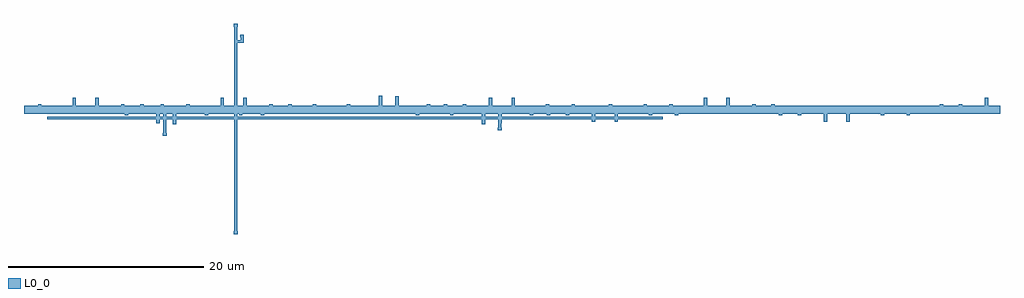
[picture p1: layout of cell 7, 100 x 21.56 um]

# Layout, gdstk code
import gdstk
lib = gdstk.Library(unit=1e-6, precision=1e-09)
def P(c, l, *ps):  # polygons
    for p in ps: c.add(gdstk.Polygon(p, *l))
L0_0 = (0, 0)

c_7 = lib.new_cell('7')
P(c_7, L0_0, [(900,941.2),(1000,941.2),(1000,940.4),(900,940.4),(900,941.2)],
  [(1000,940.4),(999.24,940.4),(999.24,941.2),(1000,941.2),(1000,940.4)],
  [(939.18,941.2),(939.18,940.4),(937.86,940.4),(937.86,941.2),(939.18,941.2)],
  [(924.28,940.4),(923.34,940.4),(923.34,941.2),(927.3,941.2),(927.3,940.4),(924.62,940.4),(924.62,940.225),(924.28,940.225),(924.28,940.4)],
  [(910.14,941.2),(910.14,940.4),(908.82,940.4),(908.82,941.2),(910.14,941.2)],
  [(958.32,941.2),(958.98,941.2),(958.98,940.4),(958.32,940.4),(958.32,941.2)],
  [(936.7,941.2),(938.05,941.2),(938.05,942.18),(938.39,942.18),(938.39,941.2),(941.28,941.2),(941.28,941.375),(941.62,941.375),(941.62,941.2),(941.82,941.2),(941.82,940.4),(928.62,940.4),(928.62,941.2),(929.59,941.2),(929.59,941.375),(929.93,941.375),(929.93,941.2),(933.09,941.2),(933.09,941.375),(933.43,941.375),(933.43,941.2),(936.36,941.2),(936.36,942.27),(936.7,942.27),(936.7,941.2)],
  [(996.6,941.2),(996.6,940.4),(991.32,940.4),(991.32,941.2),(996.6,941.2)],
  [(972.84,941.2),(972.84,940.4),(967.56,940.4),(967.56,941.2),(972.84,941.2)],
  [(950.29,941.2),(953.47,941.2),(953.47,941.375),(953.81,941.375),(953.81,941.2),(956.11,941.2),(956.11,941.375),(956.45,941.375),(956.45,941.2),(957,941.2),(957,940.4),(941.82,940.4),(941.82,941.2),(943.015,941.2),(943.015,941.375),(943.355,941.375),(943.355,941.2),(944.97,941.2),(944.97,941.375),(945.31,941.375),(945.31,941.2),(947.625,941.2),(947.625,942.035),(947.965,942.035),(947.965,941.2),(949.95,941.2),(949.95,942.04),(950.29,942.04),(950.29,941.2)],
  [(906.18,941.2),(906.18,940.4),(900.9,940.4),(900.9,941.2),(906.18,941.2)],
  [(969.99,942.04),(969.99,941.2),(971.975,941.2),(971.975,942.035),(972.315,942.035),(972.315,941.2),(974.63,941.2),(974.63,941.375),(974.97,941.375),(974.97,941.2),(976.585,941.2),(976.585,941.375),(976.925,941.375),(976.925,941.2),(978.12,941.2),(978.12,940.4),(962.94,940.4),(962.94,941.2),(963.49,941.2),(963.49,941.375),(963.83,941.375),(963.83,941.2),(966.13,941.2),(966.13,941.375),(966.47,941.375),(966.47,941.2),(969.65,941.2),(969.65,942.04),(969.99,942.04)],
  [(900,941.2),(901.45,941.2),(901.45,941.375),(901.79,941.375),(901.79,941.2),(904.97,941.2),(904.97,942.04),(905.31,942.04),(905.31,941.2),(907.295,941.2),(907.295,942.035),(907.635,942.035),(907.635,941.2),(909.95,941.2),(909.95,941.375),(910.29,941.375),(910.29,941.2),(911.905,941.2),(911.905,941.375),(912.245,941.375),(912.245,941.2),(913.44,941.2),(913.44,940.4),(900,940.4),(900,941.2)],
  [(991.32,941.2),(992.64,941.2),(992.64,940.4),(991.32,940.4),(991.32,941.2)],
  [(957,941.2),(958.32,941.2),(958.32,940.4),(957,940.4),(957,941.2)],
  [(960.26,941.375),(960.26,941.2),(962.94,941.2),(962.94,940.4),(958.98,940.4),(958.98,941.2),(959.92,941.2),(959.92,941.375),(960.26,941.375)],
  [(984.27,939.56),(984.27,940.4),(982.285,940.4),(982.285,939.565),(981.945,939.565),(981.945,940.4),(979.63,940.4),(979.63,940.225),(979.29,940.225),(979.29,940.4),(977.675,940.4),(977.675,940.225),(977.335,940.225),(977.335,940.4),(976.14,940.4),(976.14,941.2),(991.32,941.2),(991.32,940.4),(990.77,940.4),(990.77,940.225),(990.43,940.225),(990.43,940.4),(988.13,940.4),(988.13,940.225),(987.79,940.225),(987.79,940.4),(984.61,940.4),(984.61,939.56),(984.27,939.56)],
  [(920.49,942.04),(920.49,941.2),(922.475,941.2),(922.475,942.035),(922.815,942.035),(922.815,941.2),(925.13,941.2),(925.13,941.375),(925.47,941.375),(925.47,941.2),(927.085,941.2),(927.085,941.375),(927.425,941.375),(927.425,941.2),(928.62,941.2),(928.62,940.4),(913.44,940.4),(913.44,941.2),(913.99,941.2),(913.99,941.375),(914.33,941.375),(914.33,941.2),(916.63,941.2),(916.63,941.375),(916.97,941.375),(916.97,941.2),(920.15,941.2),(920.15,942.04),(920.49,942.04)],
  [(937.86,941.2),(937.86,940.4),(927.3,940.4),(927.3,941.2),(937.86,941.2)],
  [(999.24,941.2),(999.24,940.4),(996.6,940.4),(996.6,941.2),(999.24,941.2)],
  [(975.48,941.2),(975.48,940.4),(972.84,940.4),(972.84,941.2),(975.48,941.2)],
  [(900,941.2),(900.9,941.2),(900.9,940.4),(900,940.4),(900,941.2)],
  [(908.82,941.2),(908.82,940.4),(906.18,940.4),(906.18,941.2),(908.82,941.2)],
  [(978.12,941.2),(988.68,941.2),(988.68,940.4),(978.12,940.4),(978.12,941.2)],
  [(946.92,939.33),(946.92,940.4),(943.99,940.4),(943.99,940.225),(943.65,940.225),(943.65,940.4),(940.49,940.4),(940.49,940.225),(940.15,940.225),(940.15,940.4),(939.18,940.4),(939.18,941.2),(952.38,941.2),(952.38,940.4),(952.18,940.4),(952.18,940.225),(951.84,940.225),(951.84,940.4),(948.95,940.4),(948.95,939.42),(948.61,939.42),(948.61,940.4),(947.26,940.4),(947.26,939.33),(946.92,939.33)],
  [(988.68,941.2),(991.32,941.2),(991.32,940.4),(988.68,940.4),(988.68,941.2)],
  [(1000,940.4),(992.64,940.4),(992.64,941.2),(993.835,941.2),(993.835,941.375),(994.175,941.375),(994.175,941.2),(995.79,941.2),(995.79,941.375),(996.13,941.375),(996.13,941.2),(998.445,941.2),(998.445,942.035),(998.785,942.035),(998.785,941.2),(1000,941.2),(1000,940.4)],
  [(915.26,940.4),(913.91,940.4),(913.91,939.42),(913.57,939.42),(913.57,940.4),(910.68,940.4),(910.68,940.225),(910.34,940.225),(910.34,940.4),(910.14,940.4),(910.14,941.2),(923.34,941.2),(923.34,940.4),(922.37,940.4),(922.37,940.225),(922.03,940.225),(922.03,940.4),(918.87,940.4),(918.87,940.225),(918.53,940.225),(918.53,940.4),(915.6,940.4),(915.6,939.33),(915.26,939.33),(915.26,940.4)],
  [(976.14,941.2),(976.14,940.4),(975.48,940.4),(975.48,941.2),(976.14,941.2)],
  [(960.51,939.56),(960.51,940.4),(958.525,940.4),(958.525,939.565),(958.185,939.565),(958.185,940.4),(955.87,940.4),(955.87,940.225),(955.53,940.225),(955.53,940.4),(953.915,940.4),(953.915,940.225),(953.575,940.225),(953.575,940.4),(952.38,940.4),(952.38,941.2),(967.56,941.2),(967.56,940.4),(967.01,940.4),(967.01,940.225),(966.67,940.225),(966.67,940.4),(964.37,940.4),(964.37,940.225),(964.03,940.225),(964.03,940.4),(960.85,940.4),(960.85,939.56),(960.51,939.56)],
  [(936.7,941.2),(938.05,941.2),(938.05,942.18),(938.39,942.18),(938.39,941.2),(941.28,941.2),(941.28,941.375),(941.62,941.375),(941.62,941.2),(941.82,941.2),(941.82,940.4),(928.62,940.4),(928.62,941.2),(929.59,941.2),(929.59,941.375),(929.93,941.375),(929.93,941.2),(933.09,941.2),(933.09,941.375),(933.43,941.375),(933.43,941.2),(936.36,941.2),(936.36,942.27),(936.7,942.27),(936.7,941.2)],
  [(946.92,939.33),(946.92,940.4),(943.99,940.4),(943.99,940.225),(943.65,940.225),(943.65,940.4),(940.49,940.4),(940.49,940.225),(940.15,940.225),(940.15,940.4),(939.18,940.4),(939.18,941.2),(952.38,941.2),(952.38,940.4),(952.18,940.4),(952.18,940.225),(951.84,940.225),(951.84,940.4),(948.95,940.4),(948.95,939.42),(948.61,939.42),(948.61,940.4),(947.26,940.4),(947.26,939.33),(946.92,939.33)],
  [(915.26,940.4),(913.91,940.4),(913.91,939.42),(913.57,939.42),(913.57,940.4),(910.68,940.4),(910.68,940.225),(910.34,940.225),(910.34,940.4),(910.14,940.4),(910.14,941.2),(923.34,941.2),(923.34,940.4),(922.37,940.4),(922.37,940.225),(922.03,940.225),(922.03,940.4),(918.87,940.4),(918.87,940.225),(918.53,940.225),(918.53,940.4),(915.6,940.4),(915.6,939.33),(915.26,939.33),(915.26,940.4)],
  [(950.29,941.2),(953.47,941.2),(953.47,941.375),(953.81,941.375),(953.81,941.2),(956.11,941.2),(956.11,941.375),(956.45,941.375),(956.45,941.2),(957,941.2),(957,940.4),(941.82,940.4),(941.82,941.2),(943.015,941.2),(943.015,941.375),(943.355,941.375),(943.355,941.2),(944.97,941.2),(944.97,941.375),(945.31,941.375),(945.31,941.2),(947.625,941.2),(947.625,942.035),(947.965,942.035),(947.965,941.2),(949.95,941.2),(949.95,942.04),(950.29,942.04),(950.29,941.2)],
  [(906.18,941.2),(906.18,940.4),(900.9,940.4),(900.9,941.2),(906.18,941.2)],
  [(920.49,942.04),(920.49,941.2),(922.475,941.2),(922.475,942.035),(922.815,942.035),(922.815,941.2),(925.13,941.2),(925.13,941.375),(925.47,941.375),(925.47,941.2),(927.085,941.2),(927.085,941.375),(927.425,941.375),(927.425,941.2),(928.62,941.2),(928.62,940.4),(913.44,940.4),(913.44,941.2),(913.99,941.2),(913.99,941.375),(914.33,941.375),(914.33,941.2),(916.63,941.2),(916.63,941.375),(916.97,941.375),(916.97,941.2),(920.15,941.2),(920.15,942.04),(920.49,942.04)],
  [(900,941.2),(901.45,941.2),(901.45,941.375),(901.79,941.375),(901.79,941.2),(904.97,941.2),(904.97,942.04),(905.31,942.04),(905.31,941.2),(907.295,941.2),(907.295,942.035),(907.635,942.035),(907.635,941.2),(909.95,941.2),(909.95,941.375),(910.29,941.375),(910.29,941.2),(911.905,941.2),(911.905,941.375),(912.245,941.375),(912.245,941.2),(913.44,941.2),(913.44,940.4),(900,940.4),(900,941.2)],
  [(937.86,941.2),(937.86,940.4),(927.3,940.4),(927.3,941.2),(937.86,941.2)],
  [(900,941.2),(900.9,941.2),(900.9,940.4),(900,940.4),(900,941.2)],
  [(939.18,941.2),(939.18,940.4),(937.86,940.4),(937.86,941.2),(939.18,941.2)],
  [(908.82,941.2),(908.82,940.4),(906.18,940.4),(906.18,941.2),(908.82,941.2)],
  [(924.28,940.4),(923.34,940.4),(923.34,941.2),(927.3,941.2),(927.3,940.4),(924.62,940.4),(924.62,940.225),(924.28,940.225),(924.28,940.4)],
  [(910.14,941.2),(910.14,940.4),(908.82,940.4),(908.82,941.2),(910.14,941.2)],
  [(957,941.2),(958.32,941.2),(958.32,940.4),(957,940.4),(957,941.2)],
  [(936.7,941.2),(938.05,941.2),(938.05,942.18),(938.39,942.18),(938.39,941.2),(941.28,941.2),(941.28,941.375),(941.62,941.375),(941.62,941.2),(941.82,941.2),(941.82,940.4),(928.62,940.4),(928.62,941.2),(929.59,941.2),(929.59,941.375),(929.93,941.375),(929.93,941.2),(933.09,941.2),(933.09,941.375),(933.43,941.375),(933.43,941.2),(936.36,941.2),(936.36,942.27),(936.7,942.27),(936.7,941.2)],
  [(946.92,939.33),(946.92,940.4),(943.99,940.4),(943.99,940.225),(943.65,940.225),(943.65,940.4),(940.49,940.4),(940.49,940.225),(940.15,940.225),(940.15,940.4),(939.18,940.4),(939.18,941.2),(952.38,941.2),(952.38,940.4),(952.18,940.4),(952.18,940.225),(951.84,940.225),(951.84,940.4),(948.95,940.4),(948.95,939.42),(948.61,939.42),(948.61,940.4),(947.26,940.4),(947.26,939.33),(946.92,939.33)],
  [(960.26,941.375),(960.26,941.2),(962.94,941.2),(962.94,940.4),(958.98,940.4),(958.98,941.2),(959.92,941.2),(959.92,941.375),(960.26,941.375)],
  [(950.29,941.2),(953.47,941.2),(953.47,941.375),(953.81,941.375),(953.81,941.2),(956.11,941.2),(956.11,941.375),(956.45,941.375),(956.45,941.2),(957,941.2),(957,940.4),(941.82,940.4),(941.82,941.2),(943.015,941.2),(943.015,941.375),(943.355,941.375),(943.355,941.2),(944.97,941.2),(944.97,941.375),(945.31,941.375),(945.31,941.2),(947.625,941.2),(947.625,942.035),(947.965,942.035),(947.965,941.2),(949.95,941.2),(949.95,942.04),(950.29,942.04),(950.29,941.2)],
  [(972.84,941.2),(972.84,940.4),(967.56,940.4),(967.56,941.2),(972.84,941.2)],
  [(976.14,941.2),(976.14,940.4),(975.48,940.4),(975.48,941.2),(976.14,941.2)],
  [(984.27,939.56),(984.27,940.4),(982.285,940.4),(982.285,939.565),(981.945,939.565),(981.945,940.4),(979.63,940.4),(979.63,940.225),(979.29,940.225),(979.29,940.4),(977.675,940.4),(977.675,940.225),(977.335,940.225),(977.335,940.4),(976.14,940.4),(976.14,941.2),(991.32,941.2),(991.32,940.4),(990.77,940.4),(990.77,940.225),(990.43,940.225),(990.43,940.4),(988.13,940.4),(988.13,940.225),(987.79,940.225),(987.79,940.4),(984.61,940.4),(984.61,939.56),(984.27,939.56)],
  [(969.99,942.04),(969.99,941.2),(971.975,941.2),(971.975,942.035),(972.315,942.035),(972.315,941.2),(974.63,941.2),(974.63,941.375),(974.97,941.375),(974.97,941.2),(976.585,941.2),(976.585,941.375),(976.925,941.375),(976.925,941.2),(978.12,941.2),(978.12,940.4),(962.94,940.4),(962.94,941.2),(963.49,941.2),(963.49,941.375),(963.83,941.375),(963.83,941.2),(966.13,941.2),(966.13,941.375),(966.47,941.375),(966.47,941.2),(969.65,941.2),(969.65,942.04),(969.99,942.04)],
  [(996.6,941.2),(996.6,940.4),(991.32,940.4),(991.32,941.2),(996.6,941.2)],
  [(988.68,941.2),(991.32,941.2),(991.32,940.4),(988.68,940.4),(988.68,941.2)],
  [(975.48,941.2),(975.48,940.4),(972.84,940.4),(972.84,941.2),(975.48,941.2)],
  [(991.32,941.2),(992.64,941.2),(992.64,940.4),(991.32,940.4),(991.32,941.2)],
  [(958.32,941.2),(958.98,941.2),(958.98,940.4),(958.32,940.4),(958.32,941.2)],
  [(960.51,939.56),(960.51,940.4),(958.525,940.4),(958.525,939.565),(958.185,939.565),(958.185,940.4),(955.87,940.4),(955.87,940.225),(955.53,940.225),(955.53,940.4),(953.915,940.4),(953.915,940.225),(953.575,940.225),(953.575,940.4),(952.38,940.4),(952.38,941.2),(967.56,941.2),(967.56,940.4),(967.01,940.4),(967.01,940.225),(966.67,940.225),(966.67,940.4),(964.37,940.4),(964.37,940.225),(964.03,940.225),(964.03,940.4),(960.85,940.4),(960.85,939.56),(960.51,939.56)],
  [(978.12,941.2),(988.68,941.2),(988.68,940.4),(978.12,940.4),(978.12,941.2)],
  [(936.7,941.2),(938.05,941.2),(938.05,942.18),(938.39,942.18),(938.39,941.2),(941.28,941.2),(941.28,941.375),(941.62,941.375),(941.62,941.2),(941.82,941.2),(941.82,940.4),(928.62,940.4),(928.62,941.2),(929.59,941.2),(929.59,941.375),(929.93,941.375),(929.93,941.2),(933.09,941.2),(933.09,941.375),(933.43,941.375),(933.43,941.2),(936.36,941.2),(936.36,942.27),(936.7,942.27),(936.7,941.2)],
  [(946.92,939.33),(946.92,940.4),(943.99,940.4),(943.99,940.225),(943.65,940.225),(943.65,940.4),(940.49,940.4),(940.49,940.225),(940.15,940.225),(940.15,940.4),(939.18,940.4),(939.18,941.2),(952.38,941.2),(952.38,940.4),(952.18,940.4),(952.18,940.225),(951.84,940.225),(951.84,940.4),(948.95,940.4),(948.95,939.42),(948.61,939.42),(948.61,940.4),(947.26,940.4),(947.26,939.33),(946.92,939.33)],
  [(915.26,940.4),(913.91,940.4),(913.91,939.42),(913.57,939.42),(913.57,940.4),(910.68,940.4),(910.68,940.225),(910.34,940.225),(910.34,940.4),(910.14,940.4),(910.14,941.2),(923.34,941.2),(923.34,940.4),(922.37,940.4),(922.37,940.225),(922.03,940.225),(922.03,940.4),(918.87,940.4),(918.87,940.225),(918.53,940.225),(918.53,940.4),(915.6,940.4),(915.6,939.33),(915.26,939.33),(915.26,940.4)],
  [(950.29,941.2),(953.47,941.2),(953.47,941.375),(953.81,941.375),(953.81,941.2),(956.11,941.2),(956.11,941.375),(956.45,941.375),(956.45,941.2),(957,941.2),(957,940.4),(941.82,940.4),(941.82,941.2),(943.015,941.2),(943.015,941.375),(943.355,941.375),(943.355,941.2),(944.97,941.2),(944.97,941.375),(945.31,941.375),(945.31,941.2),(947.625,941.2),(947.625,942.035),(947.965,942.035),(947.965,941.2),(949.95,941.2),(949.95,942.04),(950.29,942.04),(950.29,941.2)],
  [(958.32,941.2),(958.98,941.2),(958.98,940.4),(958.32,940.4),(958.32,941.2)],
  [(972.84,941.2),(972.84,940.4),(967.56,940.4),(967.56,941.2),(972.84,941.2)],
  [(969.99,942.04),(969.99,941.2),(971.975,941.2),(971.975,942.035),(972.315,942.035),(972.315,941.2),(974.63,941.2),(974.63,941.375),(974.97,941.375),(974.97,941.2),(976.585,941.2),(976.585,941.375),(976.925,941.375),(976.925,941.2),(978.12,941.2),(978.12,940.4),(962.94,940.4),(962.94,941.2),(963.49,941.2),(963.49,941.375),(963.83,941.375),(963.83,941.2),(966.13,941.2),(966.13,941.375),(966.47,941.375),(966.47,941.2),(969.65,941.2),(969.65,942.04),(969.99,942.04)],
  [(920.49,942.04),(920.49,941.2),(922.475,941.2),(922.475,942.035),(922.815,942.035),(922.815,941.2),(925.13,941.2),(925.13,941.375),(925.47,941.375),(925.47,941.2),(927.085,941.2),(927.085,941.375),(927.425,941.375),(927.425,941.2),(928.62,941.2),(928.62,940.4),(913.44,940.4),(913.44,941.2),(913.99,941.2),(913.99,941.375),(914.33,941.375),(914.33,941.2),(916.63,941.2),(916.63,941.375),(916.97,941.375),(916.97,941.2),(920.15,941.2),(920.15,942.04),(920.49,942.04)],
  [(900,941.2),(901.45,941.2),(901.45,941.375),(901.79,941.375),(901.79,941.2),(904.97,941.2),(904.97,942.04),(905.31,942.04),(905.31,941.2),(907.295,941.2),(907.295,942.035),(907.635,942.035),(907.635,941.2),(909.95,941.2),(909.95,941.375),(910.29,941.375),(910.29,941.2),(911.905,941.2),(911.905,941.375),(912.245,941.375),(912.245,941.2),(913.44,941.2),(913.44,940.4),(900,940.4),(900,941.2)],
  [(937.86,941.2),(937.86,940.4),(927.3,940.4),(927.3,941.2),(937.86,941.2)],
  [(939.18,941.2),(939.18,940.4),(937.86,940.4),(937.86,941.2),(939.18,941.2)],
  [(910.14,941.2),(910.14,940.4),(908.82,940.4),(908.82,941.2),(910.14,941.2)],
  [(957,941.2),(958.32,941.2),(958.32,940.4),(957,940.4),(957,941.2)],
  [(960.51,939.56),(960.51,940.4),(958.525,940.4),(958.525,939.565),(958.185,939.565),(958.185,940.4),(955.87,940.4),(955.87,940.225),(955.53,940.225),(955.53,940.4),(953.915,940.4),(953.915,940.225),(953.575,940.225),(953.575,940.4),(952.38,940.4),(952.38,941.2),(967.56,941.2),(967.56,940.4),(967.01,940.4),(967.01,940.225),(966.67,940.225),(966.67,940.4),(964.37,940.4),(964.37,940.225),(964.03,940.225),(964.03,940.4),(960.85,940.4),(960.85,939.56),(960.51,939.56)],
  [(957,941.2),(958.32,941.2),(958.32,940.4),(957,940.4),(957,941.2)],
  [(946.92,939.33),(946.92,940.4),(943.99,940.4),(943.99,940.225),(943.65,940.225),(943.65,940.4),(940.49,940.4),(940.49,940.225),(940.15,940.225),(940.15,940.4),(939.18,940.4),(939.18,941.2),(952.38,941.2),(952.38,940.4),(952.18,940.4),(952.18,940.225),(951.84,940.225),(951.84,940.4),(948.95,940.4),(948.95,939.42),(948.61,939.42),(948.61,940.4),(947.26,940.4),(947.26,939.33),(946.92,939.33)],
  [(950.29,941.2),(953.47,941.2),(953.47,941.375),(953.81,941.375),(953.81,941.2),(956.11,941.2),(956.11,941.375),(956.45,941.375),(956.45,941.2),(957,941.2),(957,940.4),(941.82,940.4),(941.82,941.2),(943.015,941.2),(943.015,941.375),(943.355,941.375),(943.355,941.2),(944.97,941.2),(944.97,941.375),(945.31,941.375),(945.31,941.2),(947.625,941.2),(947.625,942.035),(947.965,942.035),(947.965,941.2),(949.95,941.2),(949.95,942.04),(950.29,942.04),(950.29,941.2)],
  [(972.84,941.2),(972.84,940.4),(967.56,940.4),(967.56,941.2),(972.84,941.2)],
  [(969.99,942.04),(969.99,941.2),(971.975,941.2),(971.975,942.035),(972.315,942.035),(972.315,941.2),(974.63,941.2),(974.63,941.375),(974.97,941.375),(974.97,941.2),(976.585,941.2),(976.585,941.375),(976.925,941.375),(976.925,941.2),(978.12,941.2),(978.12,940.4),(962.94,940.4),(962.94,941.2),(963.49,941.2),(963.49,941.375),(963.83,941.375),(963.83,941.2),(966.13,941.2),(966.13,941.375),(966.47,941.375),(966.47,941.2),(969.65,941.2),(969.65,942.04),(969.99,942.04)],
  [(920.49,942.04),(920.49,941.2),(922.475,941.2),(922.475,942.035),(922.815,942.035),(922.815,941.2),(925.13,941.2),(925.13,941.375),(925.47,941.375),(925.47,941.2),(927.085,941.2),(927.085,941.375),(927.425,941.375),(927.425,941.2),(928.62,941.2),(928.62,940.4),(913.44,940.4),(913.44,941.2),(913.99,941.2),(913.99,941.375),(914.33,941.375),(914.33,941.2),(916.63,941.2),(916.63,941.375),(916.97,941.375),(916.97,941.2),(920.15,941.2),(920.15,942.04),(920.49,942.04)],
  [(939.18,941.2),(939.18,940.4),(937.86,940.4),(937.86,941.2),(939.18,941.2)],
  [(958.32,941.2),(958.98,941.2),(958.98,940.4),(958.32,940.4),(958.32,941.2)],
  [(960.51,939.56),(960.51,940.4),(958.525,940.4),(958.525,939.565),(958.185,939.565),(958.185,940.4),(955.87,940.4),(955.87,940.225),(955.53,940.225),(955.53,940.4),(953.915,940.4),(953.915,940.225),(953.575,940.225),(953.575,940.4),(952.38,940.4),(952.38,941.2),(967.56,941.2),(967.56,940.4),(967.01,940.4),(967.01,940.225),(966.67,940.225),(966.67,940.4),(964.37,940.4),(964.37,940.225),(964.03,940.225),(964.03,940.4),(960.85,940.4),(960.85,939.56),(960.51,939.56)],
  [(906.18,941.2),(906.18,940.4),(900.9,940.4),(900.9,941.2),(906.18,941.2)],
  [(920.49,942.04),(920.49,941.2),(922.475,941.2),(922.475,942.035),(922.815,942.035),(922.815,941.2),(925.13,941.2),(925.13,941.375),(925.47,941.375),(925.47,941.2),(927.085,941.2),(927.085,941.375),(927.425,941.375),(927.425,941.2),(928.62,941.2),(928.62,940.4),(913.44,940.4),(913.44,941.2),(913.99,941.2),(913.99,941.375),(914.33,941.375),(914.33,941.2),(916.63,941.2),(916.63,941.375),(916.97,941.375),(916.97,941.2),(920.15,941.2),(920.15,942.04),(920.49,942.04)],
  [(900,941.2),(901.45,941.2),(901.45,941.375),(901.79,941.375),(901.79,941.2),(904.97,941.2),(904.97,942.04),(905.31,942.04),(905.31,941.2),(907.295,941.2),(907.295,942.035),(907.635,942.035),(907.635,941.2),(909.95,941.2),(909.95,941.375),(910.29,941.375),(910.29,941.2),(911.905,941.2),(911.905,941.375),(912.245,941.375),(912.245,941.2),(913.44,941.2),(913.44,940.4),(900,940.4),(900,941.2)],
  [(900,941.2),(900.9,941.2),(900.9,940.4),(900,940.4),(900,941.2)],
  [(939.18,941.2),(939.18,940.4),(937.86,940.4),(937.86,941.2),(939.18,941.2)],
  [(908.82,941.2),(908.82,940.4),(906.18,940.4),(906.18,941.2),(908.82,941.2)],
  [(915.26,940.4),(913.91,940.4),(913.91,939.42),(913.57,939.42),(913.57,940.4),(910.68,940.4),(910.68,940.225),(910.34,940.225),(910.34,940.4),(910.14,940.4),(910.14,941.2),(923.34,941.2),(923.34,940.4),(922.37,940.4),(922.37,940.225),(922.03,940.225),(922.03,940.4),(918.87,940.4),(918.87,940.225),(918.53,940.225),(918.53,940.4),(915.6,940.4),(915.6,939.33),(915.26,939.33),(915.26,940.4)],
  [(910.14,941.2),(910.14,940.4),(908.82,940.4),(908.82,941.2),(910.14,941.2)],
  [(937.86,941.2),(937.86,940.4),(927.3,940.4),(927.3,941.2),(937.86,941.2)],
  [(920.49,942.04),(920.49,941.2),(922.475,941.2),(922.475,942.035),(922.815,942.035),(922.815,941.2),(925.13,941.2),(925.13,941.375),(925.47,941.375),(925.47,941.2),(927.085,941.2),(927.085,941.375),(927.425,941.375),(927.425,941.2),(928.62,941.2),(928.62,940.4),(913.44,940.4),(913.44,941.2),(913.99,941.2),(913.99,941.375),(914.33,941.375),(914.33,941.2),(916.63,941.2),(916.63,941.375),(916.97,941.375),(916.97,941.2),(920.15,941.2),(920.15,942.04),(920.49,942.04)],
  [(948.61,938.7),(948.61,940.1),(948.89,940.1),(948.89,938.7),(948.61,938.7)],
  [(948.56,938.98),(948.94,938.98),(948.94,938.7),(948.56,938.7),(948.56,938.98)],
  [(948.56,940.1),(948.94,940.1),(948.94,939.82),(948.56,939.82),(948.56,940.1)],
  [(914.24,941.22),(914.62,941.22),(914.62,940.94),(914.24,940.94),(914.24,941.22)],
  [(914.24,938.42),(914.62,938.42),(914.62,938.14),(914.24,938.14),(914.24,938.42)],
  [(914.29,938.14),(914.29,941.22),(914.57,941.22),(914.57,938.14),(914.29,938.14)],
  [(922.21,947.66),(922.21,948.5),(922.49,948.5),(922.49,947.66),(922.21,947.66)],
  [(921.55,947.94),(922.49,947.94),(922.49,947.66),(921.55,947.66),(921.55,947.94)],
  [(921.55,928.06),(921.55,947.94),(921.83,947.94),(921.83,928.06),(921.55,928.06)],
  [(922.16,948.5),(922.54,948.5),(922.54,948.22),(922.16,948.22),(922.16,948.5)],
  [(921.5,928.34),(921.88,928.34),(921.88,928.06),(921.5,928.06),(921.5,928.34)],
  [(921.55,947.94),(922.49,947.94),(922.49,947.66),(921.55,947.66),(921.55,947.94)],
  [(921.55,928.06),(921.55,947.94),(921.83,947.94),(921.83,928.06),(921.55,928.06)],
  [(921.5,928.34),(921.88,928.34),(921.88,928.06),(921.5,928.06),(921.5,928.34)],
  [(921.55,928.06),(921.55,947.94),(921.83,947.94),(921.83,928.06),(921.55,928.06)],
  [(948.61,940.1),(954.83,940.1),(954.83,939.82),(948.61,939.82),(948.61,940.1)],
  [(948.56,940.1),(948.94,940.1),(948.94,939.82),(948.56,939.82),(948.56,940.1)],
  [(954.5,940.1),(954.88,940.1),(954.88,939.82),(954.5,939.82),(954.5,940.1)],
  [(914.29,941.22),(921.83,941.22),(921.83,940.94),(914.29,940.94),(914.29,941.22)],
  [(921.5,941.22),(921.88,941.22),(921.88,940.94),(921.5,940.94),(921.5,941.22)],
  [(914.24,941.22),(914.62,941.22),(914.62,940.94),(914.24,940.94),(914.24,941.22)],
  [(921.55,940.94),(921.55,949.62),(921.83,949.62),(921.83,940.94),(921.55,940.94)],
  [(921.5,941.22),(921.88,941.22),(921.88,940.94),(921.5,940.94),(921.5,941.22)],
  [(921.5,949.62),(921.88,949.62),(921.88,949.34),(921.5,949.34),(921.5,949.62)],
  [(902.41,940.1),(965.39,940.1),(965.39,939.82),(902.41,939.82),(902.41,940.1)],
  [(965.06,940.1),(965.44,940.1),(965.44,939.82),(965.06,939.82),(965.06,940.1)],
  [(902.36,940.1),(902.74,940.1),(902.74,939.82),(902.36,939.82),(902.36,940.1)])

lib.write_gds('7.gds')
